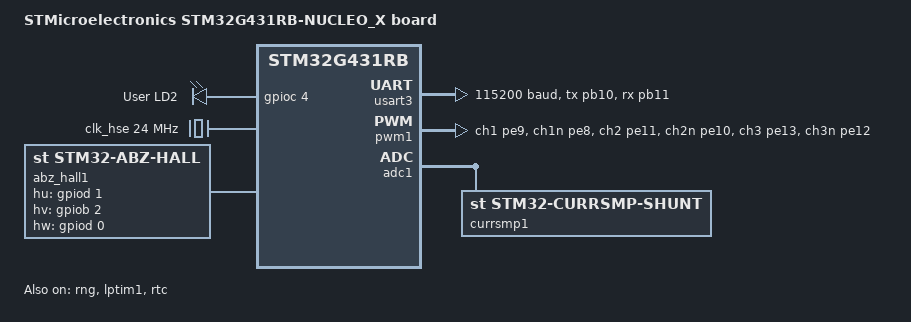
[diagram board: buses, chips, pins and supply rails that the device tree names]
/*
 * Copyright (c) 2019 Richard Osterloh <richard.osterloh@gmail.com>
 *
 * SPDX-License-Identifier: Apache-2.0
 */

/dts-v1/;
#include <st/g4/stm32g431Xb.dtsi>
#include <st/g4/stm32g431c(6-8-b)ux-pinctrl.dtsi>

/ {
	model = "STMicroelectronics STM32G431RB-NUCLEO_X board";
	compatible = "st,stm32g431rb_x-nucleo";

	chosen {
		zephyr,console = &usart3;
		zephyr,shell-uart = &usart3;
		zephyr,sram = &sram0;
		zephyr,flash = &flash0;
		zephyr,code-partition = &slot0_partition;
	};

	leds: leds {
		compatible = "gpio-leds";
		green_led: led_0 {
			gpios = <&gpioc 4 GPIO_ACTIVE_HIGH>;
			label = "User LD2";
		};
	};
    motors {
        motor1: motor_1 {
            compatible = "motor-bldc";
            control-algorithm = <&foc1>;
            status = "okay";
        };
    };
	control_algorithm {
		foc1:ctrl_algo1{
			compatible = "foc-ctrl-algo";
			currsmp = <&currsmp1>;
			pwm = <&pwm1>;
			feedback = <&abz_hall2>;
			modulate = <1>;
			status = "okay";
		};
	};	
	aliases {
		led0 = &green_led;
		mcuboot-led0 = &green_led;
		watchdog0 = &iwdg;
	};
};

&clk_lsi {
	status = "okay";
};

&clk_lse {
	status = "disabled";
};

&clk_hsi48 {
	status = "okay";
};

&clk_hse {
	clock-frequency = <DT_FREQ_M(24)>;
	status = "okay";
};

&pll {
	div-m = <6>;
	mul-n = <85>;
	div-p = <7>;
	div-q = <2>;
	div-r = <2>;
	clocks = <&clk_hse>;
	status = "okay";
};

&rcc {
	clocks = <&pll>;
	clock-frequency = <DT_FREQ_M(170)>;
	ahb-prescaler = <1>;
	apb1-prescaler = <1>;
	apb2-prescaler = <1>;
};

&rng {
	clocks = <&rcc STM32_CLOCK_BUS_AHB2 0x04000000>,
		 <&rcc STM32_SRC_HSI48 CLK48_SEL(0)>;
	status = "okay";
};

&usart3 {
	pinctrl-0 = <&usart3_tx_pb10 &usart3_rx_pb11>;
	pinctrl-names = "default";
	current-speed = <115200>;
	status = "okay";
};

stm32_lp_tick_source: &lptim1 {
	clocks = <&rcc STM32_CLOCK_BUS_APB1 0x80000000>,
		 <&rcc STM32_SRC_LSE LPTIM1_SEL(3)>;
	status = "okay";
};

&rtc {
	clocks = <&rcc STM32_CLOCK_BUS_APB1 0x00000400>,
		 <&rcc STM32_SRC_LSI RTC_SEL(2)>;
	status = "okay";
};

&flash0 {

	partitions {
		compatible = "fixed-partitions";
		#address-cells = <1>;
		#size-cells = <1>;

		boot_partition: partition@0 {
			label = "mcuboot";
			reg = <0x00000000 DT_SIZE_K(34)>;
		};
		slot0_partition: partition@8800 {
			label = "image-0";
			reg = <0x00008800 DT_SIZE_K(48)>;
		};
		slot1_partition: partition@14800 {
			label = "image-1";
			reg = <0x00014800 DT_SIZE_K(42)>;
		};
		/* Set 4Kb of storage at the end of the 128Kb of flash */
		storage_partition: partition@1f000 {
			label = "storage";
			reg = <0x0001f000 DT_SIZE_K(4)>;
		};
	};
};

&timers1 {
    pwm1: pwm {
        compatible = "st,stm32-pwm-custom";
        pinctrl-0 = <&tim1_ch1_pe9  &tim1_ch1n_pe8
                    &tim1_ch2_pe11 &tim1_ch2n_pe10
                    &tim1_ch3_pe13 &tim1_ch3n_pe12>;
        pinctrl-names = "default";
        timing-params = <120 13750 0>;  // t_dead_ns, arr, psc
        slave = <0>;
        status = "okay";
    };
};
&adc1 {
	currsmp1: currsmp {
		compatible = "st,stm32-currsmp-shunt";
		pinctrl-0 = <&adc1_inp16_pa0  &adc1_inp17_pa1 &adc1_inp14_pa2>;
		pinctrl-names = "default";
		adc-channels = <16 17 14>;
		adc-slave = <0>;
		status = "okay";
	};
};
&timers3 {
	abz_hall1: abz_hall {
		compatible = "st,stm32-abz-hall";
		pinctrl-0 = <&tim3_ch1_pb4 &tim3_ch2_pb5>;
		pinctrl-names = "default";
		lines = <4096>;
		pole-pairs = <15>;
		hu-gpios = <&gpiod 1 GPIO_ACTIVE_HIGH>;
		hv-gpios = <&gpiob 2 GPIO_ACTIVE_HIGH>;
		hw-gpios = <&gpiod 0 GPIO_ACTIVE_HIGH>;
		status = "okay";
	};
};
